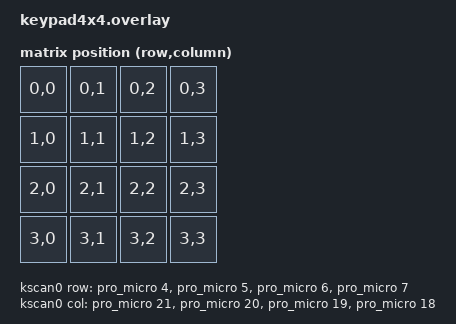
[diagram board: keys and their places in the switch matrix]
#include <dt-bindings/zmk/matrix_transform.h>
#include <physical_layouts.dtsi>

/ {
	chosen {
		zmk,kscan = &kscan0;
		zmk,physical-layout = &physical_layout0;
	};

	/*
	 * Lötpunkte der Platine -> Pro-Micro-Position (nice!nano hat dieselbe Belegung):
	 *   R0=4  R1=5  R2=6  R3=7   C0=A3(21)  C1=A2(20)  C2=A1(19)  C3=A0(18)
	 * Dioden Spalte -> Zeile (col2row).
	 */
	kscan0: kscan_0 {
		compatible = "zmk,kscan-gpio-matrix";
		wakeup-source;
		diode-direction = "col2row";

		col-gpios
			= <&pro_micro 21 GPIO_ACTIVE_HIGH>
			, <&pro_micro 20 GPIO_ACTIVE_HIGH>
			, <&pro_micro 19 GPIO_ACTIVE_HIGH>
			, <&pro_micro 18 GPIO_ACTIVE_HIGH>
			;

		row-gpios
			= <&pro_micro 4 (GPIO_ACTIVE_HIGH | GPIO_PULL_DOWN)>
			, <&pro_micro 5 (GPIO_ACTIVE_HIGH | GPIO_PULL_DOWN)>
			, <&pro_micro 6 (GPIO_ACTIVE_HIGH | GPIO_PULL_DOWN)>
			, <&pro_micro 7 (GPIO_ACTIVE_HIGH | GPIO_PULL_DOWN)>
			;
	};

	default_transform: keymap_transform_0 {
		compatible = "zmk,matrix-transform";
		columns = <4>;
		rows = <4>;
		map = <
			RC(0,0) RC(0,1) RC(0,2) RC(0,3)
			RC(1,0) RC(1,1) RC(1,2) RC(1,3)
			RC(2,0) RC(2,1) RC(2,2) RC(2,3)
			RC(3,0) RC(3,1) RC(3,2) RC(3,3)
		>;
	};

	physical_layout0: physical_layout_0 {
		compatible = "zmk,physical-layout";
		display-name = "4x4";
		transform = <&default_transform>;
		kscan = <&kscan0>;

		keys
			= <&key_physical_attrs 100 100   0   0 0 0 0>
			, <&key_physical_attrs 100 100 100   0 0 0 0>
			, <&key_physical_attrs 100 100 200   0 0 0 0>
			, <&key_physical_attrs 100 100 300   0 0 0 0>
			, <&key_physical_attrs 100 100   0 100 0 0 0>
			, <&key_physical_attrs 100 100 100 100 0 0 0>
			, <&key_physical_attrs 100 100 200 100 0 0 0>
			, <&key_physical_attrs 100 100 300 100 0 0 0>
			, <&key_physical_attrs 100 100   0 200 0 0 0>
			, <&key_physical_attrs 100 100 100 200 0 0 0>
			, <&key_physical_attrs 100 100 200 200 0 0 0>
			, <&key_physical_attrs 100 100 300 200 0 0 0>
			, <&key_physical_attrs 100 100   0 300 0 0 0>
			, <&key_physical_attrs 100 100 100 300 0 0 0>
			, <&key_physical_attrs 100 100 200 300 0 0 0>
			, <&key_physical_attrs 100 100 300 300 0 0 0>
			;
	};
};
